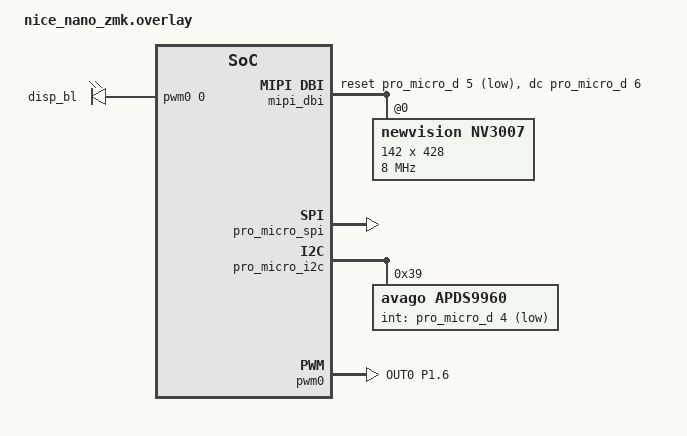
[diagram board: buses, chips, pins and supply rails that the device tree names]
/*
 * 2.79in 142x428 NV3007 Prospector wiring for nice!nano v2-compatible
 * Pro Micro footprint nRF52840 controllers.
 *
 * Display: SCK D15, MOSI D16, MISO D14 (unused), CS D10, DC D6,
 *          reset D5, backlight D9.
 * APDS9960: SDA D2, SCL D3, interrupt D4.
 */

/ {
    pwmleds {
        compatible = "pwm-leds";
        disp_bl: pwm_led_1 {
            pwms = <&pwm0 0 PWM_MSEC(1) PWM_POLARITY_NORMAL>;
        };
    };
};

&pinctrl {
    prospector_pwm_default: prospector_pwm_default {
        group1 {
            psels = <NRF_PSEL(PWM_OUT0, 1, 6)>;
            nordic,invert;
        };
    };

    prospector_pwm_sleep: prospector_pwm_sleep {
        group1 {
            psels = <NRF_PSEL(PWM_OUT0, 1, 6)>;
            low-power-enable;
        };
    };
};

disp_spi: &pro_micro_spi {
    status = "okay";
    cs-gpios = <&pro_micro_d 10 GPIO_ACTIVE_LOW>;
};

/ {
    mipi_dbi {
        compatible = "zephyr,mipi-dbi-spi";
        spi-dev = <&pro_micro_spi>;
        dc-gpios = <&pro_micro_d 6 GPIO_ACTIVE_HIGH>;
        reset-gpios = <&pro_micro_d 5 GPIO_ACTIVE_LOW>;
        write-only;
        #address-cells = <1>;
        #size-cells = <0>;

        nv3007: nv3007@0 {
            compatible = "newvision,nv3007";
            reg = <0>;
            /* nrfx rounds this down to a supported SPIM rate (8/16/32 MHz). The ST7789
             * config asked for 30 MHz and actually ran at 16 MHz; 32 MHz corrupts the
             * pixel stream over jumper wires, so start at 8 MHz and raise it once the
             * panel is proven.
             */
            mipi-max-frequency = <8000000>;
            mipi-mode = "MIPI_DBI_MODE_SPI_4WIRE";
            /* Native 142x428 portrait window of the 2.79in NV3007 panel;
             * display_rotate_init.c rotates it to a 428x142 landscape canvas.
             * The glass sits 12 columns into the 168-column frame memory.
             */
            width = <142>;
            height = <428>;
            x-offset = <12>;
            y-offset = <0>;
        };
    };
};

&pro_micro_i2c {
    status = "okay";

    apds9960: apds9960@39 {
        compatible = "avago,apds9960";
        status = "okay";
        reg = <0x39>;
        int-gpios = <&pro_micro_d 4 (GPIO_ACTIVE_LOW | GPIO_PULL_UP)>;
    };
};

&pwm0 {
    status = "okay";
    pinctrl-0 = <&prospector_pwm_default>;
    pinctrl-1 = <&prospector_pwm_sleep>;
    pinctrl-names = "default", "sleep";
};
